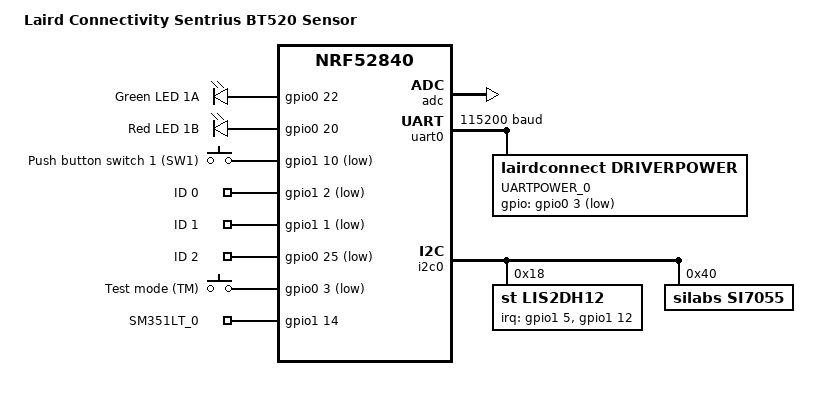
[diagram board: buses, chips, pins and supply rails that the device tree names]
/*
 * Copyright (c) 2020-2022 Laird Connectivity
 *
 * SPDX-License-Identifier: Apache-2.0
 */

/dts-v1/;
#include <nordic/nrf52840_qiaa.dtsi>
#include "bt520-pinctrl.dtsi"

/ {
	model = "Laird Connectivity Sentrius BT520 Sensor";
	compatible = "lairdconnect,bt520";

	chosen {
		zephyr,console = &uart0;
		zephyr,shell-uart = &uart0;
		zephyr,uart-mcumgr = &uart0;
		zephyr,bt-mon-uart = &uart0;
		zephyr,bt-c2h-uart = &uart0;
		zephyr,sram = &sram0;
		zephyr,flash = &flash0;
		zephyr,code-partition = &slot0_partition;
	};

	leds {
		compatible = "gpio-leds";
		led1a: led_1a {
			gpios = <&gpio0 22 GPIO_ACTIVE_HIGH>;
			label = "Green LED 1A";
		};
		led1b: led_1b {
			gpios = <&gpio0 20 GPIO_ACTIVE_HIGH>;
			label = "Red LED 1B";
		};
	};

	buttons {
		compatible = "gpio-keys";
		button0: button_0 {
			gpios = <&gpio1 10 (GPIO_PULL_UP | GPIO_ACTIVE_LOW)>;
			label = "Push button switch 1 (SW1)";
		};
	};

	ids {
		compatible = "gpio-keys";
		id0: id_0 {
			gpios = <&gpio1 2 (GPIO_PULL_UP | GPIO_ACTIVE_LOW)>;
			label = "ID 0";
		};
		id1: id_1 {
			gpios = <&gpio1 1 (GPIO_PULL_UP | GPIO_ACTIVE_LOW)>;
			label = "ID 1";
		};
		id2: id_2 {
			gpios = <&gpio0 25 (GPIO_PULL_UP | GPIO_ACTIVE_LOW)>;
			label = "ID 2";
		};
	};

	tm {
		compatible = "gpio-keys";
		tm0: tm_0 {
			gpios = <&gpio0 3 (GPIO_PULL_UP | GPIO_ACTIVE_LOW)>;
			label = "Test mode (TM)";
		};
	};

	mag {
		compatible = "gpio-keys";
		mag0: mag_0 {
			compatible = "honeywell,sm351lt";
			gpios = <&gpio1 14 0>;
			label = "SM351LT_0";
		};
	};

	/* These aliases are provided for compatibility with samples */
	aliases {
		led0 = &led1a;
		led1 = &led1b;
		sw0 = &button0;
	};
};

&adc {
	status = "okay";
};

&gpiote {
	status = "okay";
};

&gpio0 {
	status = "okay";
};

&gpio1 {
	status = "okay";
};

&uart0 {
	compatible = "nordic,nrf-uarte";
	current-speed = <115200>;
	status = "okay";
	pinctrl-0 = <&uart0_default>;
	pinctrl-1 = <&uart0_sleep>;
	pinctrl-names = "default", "sleep";

	uartpower_0 {
		compatible = "lairdconnect,driverpower";
		label = "UARTPOWER_0";
		gpios = <&gpio0 3 (GPIO_PULL_UP | GPIO_ACTIVE_LOW)>;
		control-console;
	};
};

&i2c0 {
	compatible = "nordic,nrf-twim";
	status = "okay";
	pinctrl-0 = <&i2c0_default>;
	pinctrl-1 = <&i2c0_sleep>;
	pinctrl-names = "default", "sleep";

	lis2dh12@18 {
		compatible = "st,lis2dh12", "st,lis2dh";
		reg = <0x18>;
		irq-gpios = <&gpio1 5 GPIO_ACTIVE_HIGH>,
				<&gpio1 12 GPIO_ACTIVE_HIGH>;
		label = "LIS2DH12";
		disconnect-sdo-sa0-pull-up;
	};

	si7055@40 {
		compatible = "silabs,si7055";
		reg = <0x40>;
		label = "SI7055";
	};
};

&flash0 {
	/*
	 * For more information, see:
	 * http://docs.zephyrproject.org/latest/guides/dts/index.html#flash-partitions
	 */
	partitions {
		compatible = "fixed-partitions";
		#address-cells = <1>;
		#size-cells = <1>;

		/* 32K */
		boot_partition: partition@0 {
			label = "mcuboot";
			reg = <0x000000000 0x00008000>;
		};
		/* 400K */
		slot0_partition: partition@8000 {
			label = "image-0";
			reg = <0x00008000 0x000064000>;
		};
		/* 400K */
		slot1_partition: partition@6c000 {
			label = "image-1";
			reg = <0x0006c000 0x000064000>;
		};

		/*
		 * The flash starting at 0x000d0000 and ending at
		 * 0x000fffff is reserved for use by the application.
		 */

		/*
		 * Storage partition will be used by FCB/LittleFS/NVS
		 * if enabled.
		 */
		/* 192K */
		storage_partition: partition@d0000 {
			label = "storage";
			reg = <0x000d0000 0x00030000>;
		};
	};
};
